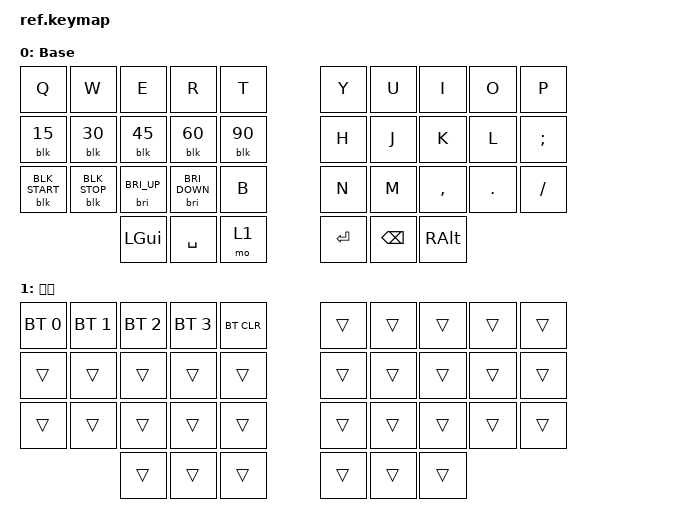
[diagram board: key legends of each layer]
/*
 * Exercises every binding this module adds, so CI fails if a behaviour stops
 * resolving — not just if the widgets stop compiling.
 */

#include <behaviors.dtsi>
#include <dt-bindings/zmk/keys.h>
#include <dt-bindings/zmk/bt.h>
#include <dt-bindings/zmk/block_timer.h>
#include <dt-bindings/zmk/prospector_brightness.h>

/ {
    behaviors {
        blk: block_timer {
            compatible = "zmk,behavior-block-timer";
            #binding-cells = <1>;
        };

        bri: prospector_brightness {
            compatible = "zmk,behavior-prospector-brightness";
            #binding-cells = <1>;
        };
    };

    keymap {
        compatible = "zmk,keymap";

        base_layer {
            display-name = "Base";
            bindings = <
&kp Q  &kp W  &kp E          &kp R            &kp T          &kp Y  &kp U  &kp I  &kp O  &kp P
&blk 15 &blk 30 &blk 45      &blk 60          &blk 90        &kp H  &kp J  &kp K  &kp L  &kp SEMI
&blk BLK_START &blk BLK_STOP &bri BRI_UP      &bri BRI_DOWN  &kp B  &kp N  &kp M  &kp COMMA &kp DOT &kp FSLH
                             &kp LGUI &kp SPACE &mo 1        &kp RET &kp BSPC &kp RALT
            >;
        };

        second_layer {
            /* Deliberately Japanese: the ref-dial-jp build target turns on
             * CONFIG_PROSPECTOR_LAYER_FONT_JP, so this exercises the UTF-8
             * path through the layer label. The other targets keep it too,
             * where it simply renders as a missing glyph — harmless in CI. */
            display-name = "集中";
            bindings = <
&bt BT_SEL 0 &bt BT_SEL 1 &bt BT_SEL 2 &bt BT_SEL 3 &bt BT_CLR  &trans &trans &trans &trans &trans
&trans &trans &trans &trans &trans                              &trans &trans &trans &trans &trans
&trans &trans &trans &trans &trans                              &trans &trans &trans &trans &trans
                     &trans &trans &trans                       &trans &trans &trans
            >;
        };
    };
};
